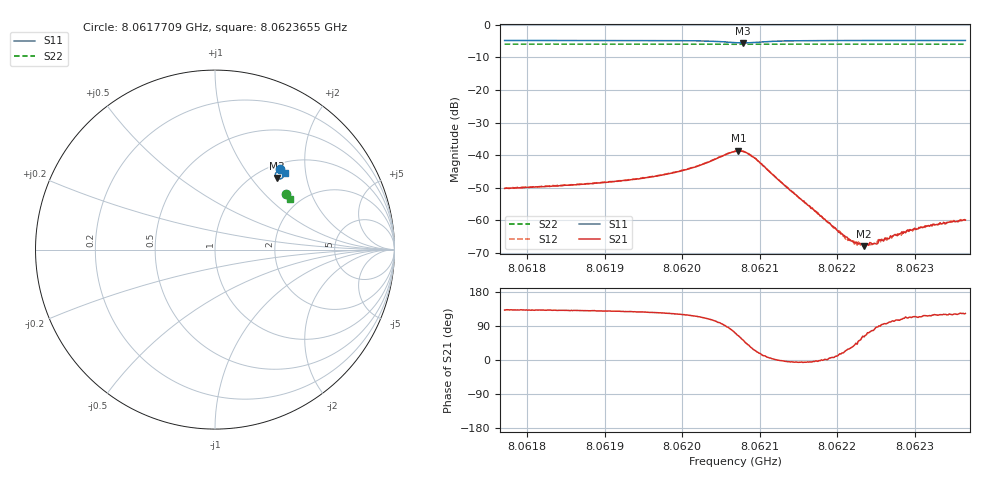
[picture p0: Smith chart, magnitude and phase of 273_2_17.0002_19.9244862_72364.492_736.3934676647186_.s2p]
#  HZ  S  RI  R  50.00
! Rohde & Schwarz Vector Network Analyzer
! Rohde-Schwarz,ZNB20-2Port,1311601062101988,3.16
! Created: UTC 3/20/2024, 11:04:16 PM
! freq[Hz]  re:S11  im:S11  re:S21  im:S21  re:S12  im:S12  re:S22  im:S22
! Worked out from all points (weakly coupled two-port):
!   401 points, 8.0617709 GHz to 8.0623655 GHz, reference 50 ohm
!   highest |S21| = -38.64 dB at 8.0620727 GHz (marker M1); lowest = -67.9 dB at 8.0622347 GHz (marker M2)
!   lowest |S11| = -5.6 dB at 8.0620786 GHz (marker M3), VSWR 3.23, Z = 61.2 + j67.6 ohm
!   |S11| at or under -10 dB: nowhere
!   |S22| runs from -6.0 to -5.9 dB; largest |S21 - S12| = 0.0009
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8.06177095e9  0.3624 0.4476  -0.00206 0.0023  -0.00197 0.00242  0.3981 0.312
8.06187054e9  0.3695 0.4413  -0.00231 0.00273  -0.0022 0.0029  0.4019 0.3069
8.06192405e9  0.3737 0.4371  -0.00253 0.00321  -0.00234 0.00336  0.4038 0.3043
8.06197012e9  0.3777 0.4316  -0.00277 0.00401  -0.00255 0.00419  0.4055 0.3019
8.06201769e9  0.3822 0.4207  -0.00285 0.00598  -0.00251 0.0062  0.407 0.299
8.06206822e9  0.3595 0.3933  0.00366 0.0109  0.00425 0.0106  0.4073 0.2957
8.06207268e9  0.3524 0.3943  0.00513 0.0105  0.0058 0.0102  0.4071 0.2957
8.06207863e9  0.3437 0.3991  0.00685 0.00905  0.00764 0.00862  0.407 0.2956
8.06209498e9  0.3369 0.422  0.0081 0.00361  0.00826 0.00294  0.4076 0.2961
8.06213214e9  0.3568 0.4393  0.00344 -0.000194  0.00343 -0.000422  0.4101 0.2949
8.06216781e9  0.3675 0.4384  0.00151 -0.000131  0.00154 -0.000245  0.4116 0.2929
8.06219754e9  0.3725 0.4365  0.000755 0.000126  0.000752 5.34e-05  0.4127 0.2913
8.06220349e9  0.3733 0.4361  0.000625 0.000185  0.000665 0.000117  0.4129 0.2909
8.06221092e9  0.3743 0.4355  0.000505 0.000229  0.000472 0.000211  0.4132 0.2907
8.06221835e9  0.3753 0.4351  0.000405 0.000262  0.000445 0.000235  0.4135 0.2901
8.06222281e9  0.3757 0.4347  0.000352 0.000297  0.000321 0.000261  0.4137 0.2899
8.0622347e9  0.377 0.4341  0.000196 0.000351  0.00021 0.000344  0.4141 0.2894
8.06224956e9  0.3787 0.4331  3.87e-05 0.000438  8.49e-05 0.000445  0.4147 0.2885
8.0622674e9  0.3802 0.432  -9.3e-05 0.000517  -4.15e-05 0.000533  0.4153 0.2877
8.06229267e9  0.3824 0.4304  -0.000259 0.000624  -0.000204 0.00069  0.4161 0.2864
8.06230456e9  0.3833 0.4297  -0.000283 0.000686  -0.000311 0.000735  0.4167 0.2857
8.0623655e9  0.3877 0.4262  -0.000546 0.00085  -0.000504 0.00091  0.4186 0.2824
